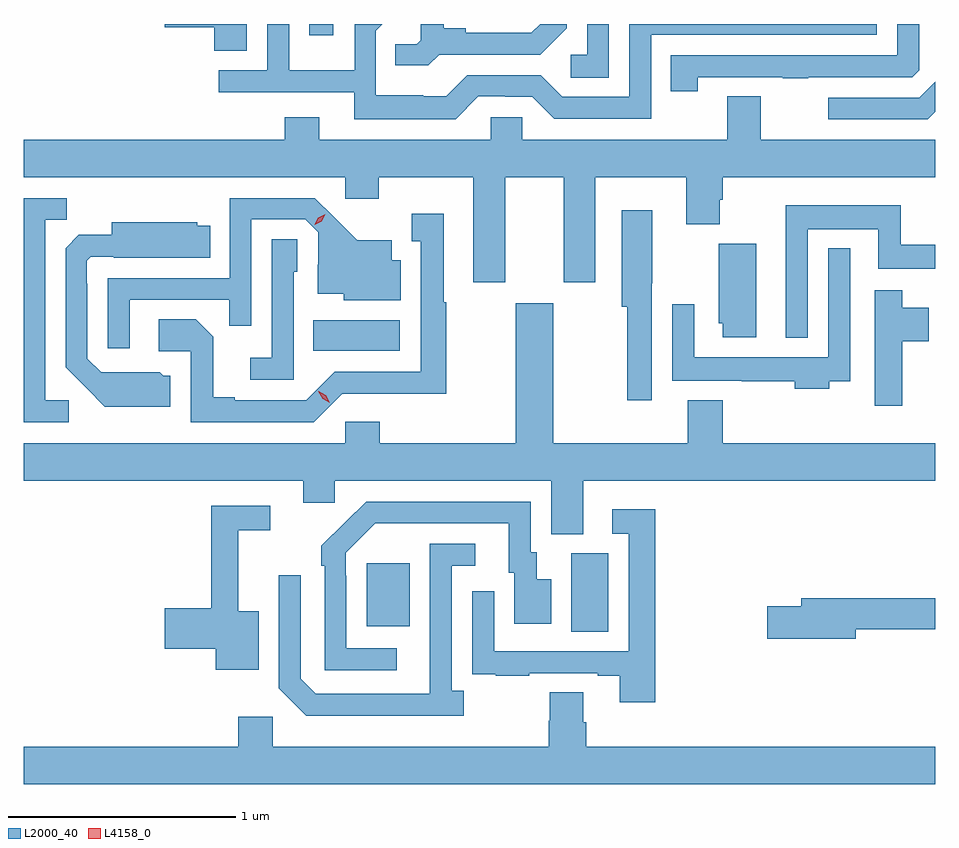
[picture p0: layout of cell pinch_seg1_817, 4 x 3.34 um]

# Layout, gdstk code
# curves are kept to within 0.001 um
import gdstk
lib = gdstk.Library(unit=1e-6, precision=1e-09)
def R(c, l, rs):  # rectangles x0, y0, x1, y1
    for r in rs: c.add(gdstk.rectangle(r[:2], r[2:], *l))
def P(c, l, *ps):  # polygons
    for p in ps: c.add(gdstk.Polygon(p, *l))
L2000_40 = (2000, 40)
L4158_0 = (4158, 0)

pinch_seg1_817 = lib.new_cell('pinch_seg1_817')
R(pinch_seg1_817, L2000_40, [(471.944,560.392,472.108,560.736), (471.047,560.417,471.235,560.692), (470.812,561.626,471.193,561.76), (470.795,563.01,470.899,563.06)])
P(pinch_seg1_817, L2000_40, [(471.537,562.743),(471.654,562.743),(471.654,562.74),(471.774,562.74),(471.87,562.644),(472.296,562.644),(472.296,563.013),(473.286,563.013),(473.286,563.06),(472.2,563.06),(472.2,562.74),(471.906,562.74),(471.81,562.836),(471.489,562.836),(471.396,562.743),(471.296,562.743),(471.296,562.747),(471.087,562.747),(471.087,563.031),(471.116,563.06),(470.994,563.06),(470.994,562.858),(470.706,562.858),(470.706,563.06),(470.61,563.06),(470.61,562.857),(470.397,562.857),(470.397,562.761),(470.993,562.761),(470.993,562.643),(471.437,562.643)],
  [(472.11,563.06),(472.014,563.06),(472.014,562.926),(471.942,562.926),(471.942,562.825),(472.11,562.825)],
  [(472.5,562.827),(472.873,562.827),(472.873,562.822),(472.985,562.822),(472.985,562.827),(473.442,562.827),(473.472,562.857),(473.472,563.06),(473.376,563.06),(473.376,562.923),(472.381,562.923),(472.381,562.764),(472.5,562.764)],
  [(471.366,562.926),(471.808,562.926),(471.924,563.042),(471.924,563.06),(471.808,563.06),(471.77,563.022),(471.481,563.022),(471.481,563.042),(471.385,563.042),(471.385,563.06),(471.285,563.06),(471.285,562.989),(471.267,562.971),(471.172,562.971),(471.172,562.879),(471.318,562.879)],
  [(470.521,563.06),(470.16,563.06),(470.16,563.045),(470.378,563.045),(470.378,562.942),(470.521,562.942)],
  [(473.542,562.674),(473.542,562.807),(473.472,562.737),(473.073,562.737),(473.073,562.641),(473.509,562.641)],
  [(471.655,562.388),(471.911,562.388),(471.911,561.927),(472.051,561.927),(472.051,562.388),(472.45,562.388),(472.45,562.18),(472.597,562.18),(472.597,562.289),(472.61,562.289),(472.61,562.388),(473.542,562.388),(473.542,562.552),(472.777,562.552),(472.777,562.742),(472.63,562.742),(472.63,562.552),(471.729,562.552),(471.729,562.65),(471.591,562.65),(471.591,562.552),(470.839,562.552),(470.839,562.651),(470.687,562.651),(470.687,562.552),(469.542,562.552),(469.542,562.388),(470.952,562.388),(470.952,562.293),(471.099,562.293),(471.099,562.388),(471.515,562.388),(471.515,561.927),(471.655,561.927)],
  [(469.738,561.408),(469.635,561.408),(469.635,562.201),(469.731,562.201),(469.731,562.296),(469.542,562.296),(469.542,561.312),(469.738,561.312)],
  [(470.007,561.849),(470.443,561.849),(470.443,561.736),(470.541,561.736),(470.541,562.203),(470.778,562.203),(470.835,562.146),(470.835,562.004),(470.831,562.004),(470.831,561.875),(470.946,561.875),(470.946,561.848),(471.196,561.848),(471.196,562.024),(471.157,562.024),(471.157,562.111),(471.005,562.111),(470.818,562.296),(470.445,562.296),(470.445,561.945),(469.911,561.945),(469.911,561.636),(470.007,561.636)],
  [(472.983,562.16),(473.292,562.16),(473.292,561.986),(473.542,561.986),(473.542,562.09),(473.39,562.09),(473.39,562.264),(472.886,562.264),(472.886,561.683),(472.983,561.683)],
  [(472.299,561.922),(472.3,561.922),(472.3,562.243),(472.166,562.243),(472.166,561.818),(472.191,561.818),(472.191,561.408),(472.299,561.408)],
  [(470.94,561.438),(471.395,561.437),(471.395,561.839),(471.385,561.839),(471.385,562.228),(471.245,562.228),(471.245,562.107),(471.284,562.107),(471.284,561.534),(470.907,561.534),(470.781,561.408),(470.467,561.408),(470.467,561.421),(470.373,561.421),(470.373,561.688),(470.297,561.764),(470.133,561.764),(470.133,561.624),(470.274,561.624),(470.274,561.312),(470.814,561.312)],
  [(470.185,561.516),(470.154,561.516),(470.138,561.532),(469.881,561.531),(469.821,561.591),(469.821,561.92),(469.818,561.92),(469.818,562.02),(469.836,562.038),(469.936,562.038),(469.936,562.034),(470.36,562.034),(470.36,562.174),(470.304,562.174),(470.304,562.189),(469.928,562.189),(469.928,562.135),(469.784,562.135),(469.725,562.076),(469.725,561.554),(469.897,561.38),(470.185,561.38)],
  [(470.727,561.972),(470.742,561.972),(470.742,562.115),(470.631,562.115),(470.631,561.595),(470.535,561.595),(470.535,561.498),(470.727,561.498)],
  [(472.756,562.095),(472.592,562.095),(472.592,561.747),(472.61,561.747),(472.61,561.684),(472.756,561.684)],
  [(473.077,561.492),(473.169,561.492),(473.169,562.075),(473.073,562.075),(473.073,561.598),(472.485,561.598),(472.485,561.829),(472.389,561.829),(472.389,561.494),(472.693,561.494),(472.693,561.492),(472.925,561.492),(472.925,561.458),(473.077,561.458)],
  [(473.398,561.667),(473.515,561.667),(473.515,561.814),(473.398,561.814),(473.398,561.892),(473.276,561.892),(473.276,561.384),(473.398,561.384)],
  [(471.997,561.056),(473.542,561.056),(473.542,561.22),(472.61,561.22),(472.61,561.409),(472.457,561.409),(472.457,561.22),(471.865,561.22),(471.865,561.835),(471.701,561.835),(471.701,561.22),(471.104,561.22),(471.104,561.313),(470.952,561.313),(470.952,561.22),(469.542,561.22),(469.542,561.056),(470.768,561.056),(470.768,560.958),(470.907,560.958),(470.907,561.056),(471.857,561.056),(471.857,560.821),(471.997,560.821)],
  [(471.178,560.319),(470.958,560.319),(470.958,560.639),(470.955,560.639),(470.955,560.739),(471.084,560.868),(471.671,560.868),(471.671,560.652),(471.695,560.652),(471.695,560.427),(471.856,560.427),(471.856,560.623),(471.793,560.623),(471.793,560.742),(471.768,560.742),(471.768,560.964),(471.044,560.964),(470.847,560.769),(470.847,560.681),(470.862,560.681),(470.862,560.223),(471.178,560.223)],
  [(470.572,560.482),(470.483,560.482),(470.483,560.838),(470.623,560.838),(470.623,560.946),(470.365,560.946),(470.365,560.495),(470.16,560.495),(470.16,560.317),(470.384,560.317),(470.384,560.225),(470.572,560.225)],
  [(472.313,560.929),(472.125,560.929),(472.125,560.823),(472.197,560.823),(472.197,560.307),(471.606,560.307),(471.606,560.569),(471.51,560.569),(471.51,560.314),(471.511,560.314),(471.511,560.205),(471.613,560.205),(471.613,560.199),(471.761,560.199),(471.761,560.211),(472.061,560.211),(472.061,560.199),(472.157,560.199),(472.157,560.082),(472.313,560.082)],
  [(471.472,560.134),(471.42,560.134),(471.42,560.682),(471.523,560.682),(471.523,560.778),(471.324,560.778),(471.323,560.121),(470.823,560.121),(470.757,560.187),(470.757,560.641),(470.661,560.641),(470.661,560.145),(470.782,560.024),(471.472,560.024)],
  [(473.194,560.404),(473.542,560.404),(473.542,560.54),(472.955,560.54),(472.955,560.504),(472.806,560.504),(472.806,560.362),(473.194,560.362)],
  [(473.542,559.888),(472.01,559.888),(472.01,559.994),(471.997,559.994),(471.997,560.126),(471.85,560.126),(471.85,560.001),(471.845,560.001),(471.845,559.888),(470.634,559.888),(470.634,560.02),(470.483,560.02),(470.483,559.888),(469.542,559.888),(469.542,559.724),(473.542,559.724)])
P(pinch_seg1_817, L4158_0, [(470.818,562.179),(470.818,562.18),(470.835,562.209),(470.866,562.224),(470.866,562.224),(470.866,562.224),(470.849,562.195),(470.818,562.179)],
  [(470.885,561.398),(470.853,561.416),(470.835,561.449),(470.835,561.449),(470.836,561.449),(470.867,561.43),(470.885,561.398),(470.885,561.398)])

lib.write_gds('pinch_seg1_817.gds')
